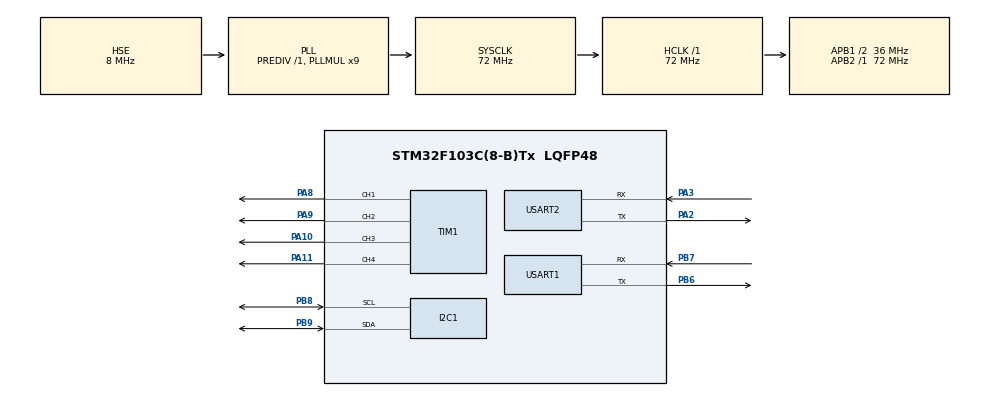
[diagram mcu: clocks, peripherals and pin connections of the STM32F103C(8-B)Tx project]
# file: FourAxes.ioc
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FREERTOS.Tasks01=defaultTask,0,128,StartDefaultTask,Default,NULL
Mcu.Family=STM32F1
Mcu.Name=STM32F103C(8-B)Tx
Mcu.Package=LQFP48
NVIC.PriorityGroup=NVIC_PRIORITYGROUP_4
NVIC.TIM4_IRQn=true\:0\:0\:false\:false\:true\:false
NVIC.TimeBase=TIM4_IRQn
NVIC.TimeBaseIP=TIM4
NVIC.USART2_IRQn=true\:0\:0\:false\:false\:true\:false
PA10.Signal=S_TIM1_CH3
PA11.Signal=S_TIM1_CH4
PA13.Signal=SYS_JTMS-SWDIO
PA14.Signal=SYS_JTCK-SWCLK
PA2.Mode=Asynchronous
PA2.Signal=USART2_TX
PA3.Mode=Asynchronous
PA3.Signal=USART2_RX
PA8.Signal=S_TIM1_CH1
PA9.Signal=S_TIM1_CH2
PB6.Mode=Asynchronous
PB6.Signal=USART1_TX
PB7.Mode=Asynchronous
PB7.Signal=USART1_RX
PB8.Mode=I2C
PB8.Signal=I2C1_SCL
PB9.Mode=I2C
PB9.Signal=I2C1_SDA
PD0-OSC_IN.Mode=HSE-External-Oscillator
PD0-OSC_IN.Signal=RCC_OSC_IN
PD1-OSC_OUT.Mode=HSE-External-Oscillator
PD1-OSC_OUT.Signal=RCC_OSC_OUT
ProjectManager.HeapSize=0x200
ProjectManager.StackSize=0x400
ProjectManager.TargetToolchain=SW4STM32
RCC.AHBFreq_Value=72000000
RCC.APB1CLKDivider=RCC_HCLK_DIV2
RCC.APB1Freq_Value=36000000
RCC.APB1TimFreq_Value=72000000
RCC.APB2Freq_Value=72000000
RCC.APB2TimFreq_Value=72000000
RCC.HCLKFreq_Value=72000000
RCC.PLLMUL=RCC_PLL_MUL9
RCC.PLLSourceVirtual=RCC_PLLSOURCE_HSE
RCC.SYSCLKFreq_VALUE=72000000
RCC.SYSCLKSource=RCC_SYSCLKSOURCE_PLLCLK
RCC.USBFreq_Value=72000000
SH.S_TIM1_CH1.0=TIM1_CH1,PWM Generation1 CH1
SH.S_TIM1_CH2.0=TIM1_CH2,PWM Generation2 CH2
SH.S_TIM1_CH3.0=TIM1_CH3,PWM Generation3 CH3
SH.S_TIM1_CH4.0=TIM1_CH4,PWM Generation4 CH4
TIM1.Channel-PWM\ Generation1\ CH1=TIM_CHANNEL_1
TIM1.Channel-PWM\ Generation2\ CH2=TIM_CHANNEL_2
TIM1.Channel-PWM\ Generation3\ CH3=TIM_CHANNEL_3
TIM1.Channel-PWM\ Generation4\ CH4=TIM_CHANNEL_4
USART1.VirtualMode=VM_ASYNC
USART2.VirtualMode=VM_ASYNC
VP_FREERTOS_VS_ENABLE.Mode=Enabled
VP_SYS_VS_ND.Mode=No_Debug
VP_SYS_VS_tim4.Mode=TIM4
board=FourAxes

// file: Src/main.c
/**
  ******************************************************************************
  * File Name          : main.c
  * Description        : Main program body
  ******************************************************************************
  * This notice applies to any and all portions of this file
  * that are not between comment pairs USER CODE BEGIN and
  * USER CODE END. Other portions of this file, whether
  * inserted by the user or by software development tools
  * are owned by their respective copyright owners.
  *
  * Copyright (c) 2017 STMicroelectronics International N.V.
  * All rights reserved.
  *
  * Redistribution and use in source and binary forms, with or without
  * modification, are permitted, provided that the following conditions are met:
  *
  * 1. Redistribution of source code must retain the above copyright notice,
  *    this list of conditions and the following disclaimer.
  * 2. Redistributions in binary form must reproduce the above copyright notice,
  *    this list of conditions and the following disclaimer in the documentation
  *    and/or other materials provided with the distribution.
  * 3. Neither the name of STMicroelectronics nor the names of other
  *    contributors to this software may be used to endorse or promote products
  *    derived from this software without specific written permission.
  * 4. This software, including modifications and/or derivative works of this
  *    software, must execute solely and exclusively on microcontroller or
  *    microprocessor devices manufactured by or for STMicroelectronics.
  * 5. Redistribution and use of this software other than as permitted under
  *    this license is void and will automatically terminate your rights under
  *    this license.
  *
  * THIS SOFTWARE IS PROVIDED BY STMICROELECTRONICS AND CONTRIBUTORS "AS IS"
  * AND ANY EXPRESS, IMPLIED OR STATUTORY WARRANTIES, INCLUDING, BUT NOT
  * LIMITED TO, THE IMPLIED WARRANTIES OF MERCHANTABILITY, FITNESS FOR A
  * PARTICULAR PURPOSE AND NON-INFRINGEMENT OF THIRD PARTY INTELLECTUAL PROPERTY
  * RIGHTS ARE DISCLAIMED TO THE FULLEST EXTENT PERMITTED BY LAW. IN NO EVENT
  * SHALL STMICROELECTRONICS OR CONTRIBUTORS BE LIABLE FOR ANY DIRECT, INDIRECT,
  * INCIDENTAL, SPECIAL, EXEMPLARY, OR CONSEQUENTIAL DAMAGES (INCLUDING, BUT NOT
  * LIMITED TO, PROCUREMENT OF SUBSTITUTE GOODS OR SERVICES; LOSS OF USE, DATA,
  * OR PROFITS; OR BUSINESS INTERRUPTION) HOWEVER CAUSED AND ON ANY THEORY OF
  * LIABILITY, WHETHER IN CONTRACT, STRICT LIABILITY, OR TORT (INCLUDING
  * NEGLIGENCE OR OTHERWISE) ARISING IN ANY WAY OUT OF THE USE OF THIS SOFTWARE,
  * EVEN IF ADVISED OF THE POSSIBILITY OF SUCH DAMAGE.
  *
  ******************************************************************************
  */
#include "main.h"
#include "stm32f1xx_hal.h"
#include "cmsis_os.h"

/* USER CODE BEGIN Includes */
#include "iic.h"
#include "gprs.h"

/* USER CODE END Includes */

I2C_HandleTypeDef hi2c1;

TIM_HandleTypeDef htim1;

UART_HandleTypeDef huart1;
UART_HandleTypeDef huart2;

osThreadId defaultTaskHandle;

/* USER CODE BEGIN PV */
/* Private variables ---------------------------------------------------------*/

/* USER CODE END PV */

void SystemClock_Config(void);
static void MX_GPIO_Init(void);
static void MX_TIM1_Init(void);
static void MX_USART1_UART_Init(void);
static void MX_I2C1_Init(void);
static void MX_USART2_UART_Init(void);
void StartDefaultTask(void const * argument);

void HAL_TIM_MspPostInit(TIM_HandleTypeDef *htim);

/* USER CODE BEGIN PFP */
/* Private function prototypes -----------------------------------------------*/

/* USER CODE END PFP */

/* USER CODE BEGIN 0 */
void Printf_Task(void);
extern void ReadAccelGyro(void);
extern void AT_Transmit(void);
/* USER CODE END 0 */

int main(void)
{

  /* MCU Configuration----------------------------------------------------------*/

  /* Reset of all peripherals, Initializes the Flash interface and the Systick. */
  HAL_Init();

  /* Configure the system clock */
  SystemClock_Config();

  /* Initialize all configured peripherals */
  MX_GPIO_Init();
  MX_TIM1_Init();
  MX_USART1_UART_Init();
  MX_I2C1_Init();
  MX_USART2_UART_Init();

  /* USER CODE BEGIN 2 */
  MPU9255Init();
  /* USER CODE END 2 */

  /* Create the thread(s) */
  /* definition and creation of defaultTask */
  osThreadDef(defaultTask, StartDefaultTask, osPriorityNormal, 0, 128);
  defaultTaskHandle = osThreadCreate(osThread(defaultTask), NULL);

  /* USER CODE BEGIN RTOS_THREADS */

//  xTaskCreate(ReadAccelGyro,"ReadAccelGyro",256,NULL,1,NULL);
  xTaskCreate(AT_Transmit,"AT_Transmit",256,NULL,1,NULL);
  /* add threads, ... */
  /* USER CODE END RTOS_THREADS */

  /* Start scheduler */
  osKernelStart();

  /* We should never get here as control is now taken by the scheduler */

  /* Infinite loop */
  while (1)
  {

  }

}

/** System Clock Configuration
*/
void SystemClock_Config(void)
{

  RCC_OscInitTypeDef RCC_OscInitStruct;
  RCC_ClkInitTypeDef RCC_ClkInitStruct;

    /**Initializes the CPU, AHB and APB busses clocks
    */
  RCC_OscInitStruct.OscillatorType = RCC_OSCILLATORTYPE_HSE;
  RCC_OscInitStruct.HSEState = RCC_HSE_ON;
  RCC_OscInitStruct.HSEPredivValue = RCC_HSE_PREDIV_DIV1;
  RCC_OscInitStruct.HSIState = RCC_HSI_ON;
  RCC_OscInitStruct.PLL.PLLState = RCC_PLL_ON;
  RCC_OscInitStruct.PLL.PLLSource = RCC_PLLSOURCE_HSE;
  RCC_OscInitStruct.PLL.PLLMUL = RCC_PLL_MUL9;
  if (HAL_RCC_OscConfig(&RCC_OscInitStruct) != HAL_OK)
  {
    _Error_Handler(__FILE__, __LINE__);
  }

    /**Initializes the CPU, AHB and APB busses clocks
    */
  RCC_ClkInitStruct.ClockType = RCC_CLOCKTYPE_HCLK|RCC_CLOCKTYPE_SYSCLK
                              |RCC_CLOCKTYPE_PCLK1|RCC_CLOCKTYPE_PCLK2;
  RCC_ClkInitStruct.SYSCLKSource = RCC_SYSCLKSOURCE_PLLCLK;
  RCC_ClkInitStruct.AHBCLKDivider = RCC_SYSCLK_DIV1;
  RCC_ClkInitStruct.APB1CLKDivider = RCC_HCLK_DIV2;
  RCC_ClkInitStruct.APB2CLKDivider = RCC_HCLK_DIV1;

  if (HAL_RCC_ClockConfig(&RCC_ClkInitStruct, FLASH_LATENCY_2) != HAL_OK)
  {
    _Error_Handler(__FILE__, __LINE__);
  }

    /**Configure the Systick interrupt time
    */
  HAL_SYSTICK_Config(HAL_RCC_GetHCLKFreq()/1000);

    /**Configure the Systick
    */
  HAL_SYSTICK_CLKSourceConfig(SYSTICK_CLKSOURCE_HCLK);

  /* SysTick_IRQn interrupt configuration */
  HAL_NVIC_SetPriority(SysTick_IRQn, 15, 0);
}

/* I2C1 init function */
static void MX_I2C1_Init(void)
{

  hi2c1.Instance = I2C1;
  hi2c1.Init.ClockSpeed = 100000;
  hi2c1.Init.DutyCycle = I2C_DUTYCYCLE_2;
  hi2c1.Init.OwnAddress1 = 0;
  hi2c1.Init.AddressingMode = I2C_ADDRESSINGMODE_7BIT;
  hi2c1.Init.DualAddressMode = I2C_DUALADDRESS_DISABLE;
  hi2c1.Init.OwnAddress2 = 0;
  hi2c1.Init.GeneralCallMode = I2C_GENERALCALL_DISABLE;
  hi2c1.Init.NoStretchMode = I2C_NOSTRETCH_DISABLE;
  if (HAL_I2C_Init(&hi2c1) != HAL_OK)
  {
    _Error_Handler(__FILE__, __LINE__);
  }

}

/* TIM1 init function */
static void MX_TIM1_Init(void)
{

  TIM_MasterConfigTypeDef sMasterConfig;
  TIM_OC_InitTypeDef sConfigOC;
  TIM_BreakDeadTimeConfigTypeDef sBreakDeadTimeConfig;

  htim1.Instance = TIM1;
  htim1.Init.Prescaler = 0;
  htim1.Init.CounterMode = TIM_COUNTERMODE_UP;
  htim1.Init.Period = 0;
  htim1.Init.ClockDivision = TIM_CLOCKDIVISION_DIV1;
  htim1.Init.RepetitionCounter = 0;
  if (HAL_TIM_PWM_Init(&htim1) != HAL_OK)
  {
    _Error_Handler(__FILE__, __LINE__);
  }

  sMasterConfig.MasterOutputTrigger = TIM_TRGO_RESET;
  sMasterConfig.MasterSlaveMode = TIM_MASTERSLAVEMODE_DISABLE;
  if (HAL_TIMEx_MasterConfigSynchronization(&htim1, &sMasterConfig) != HAL_OK)
  {
    _Error_Handler(__FILE__, __LINE__);
  }

  sConfigOC.OCMode = TIM_OCMODE_PWM1;
  sConfigOC.Pulse = 0;
  sConfigOC.OCPolarity = TIM_OCPOLARITY_HIGH;
  sConfigOC.OCNPolarity = TIM_OCNPOLARITY_HIGH;
  sConfigOC.OCFastMode = TIM_OCFAST_DISABLE;
  sConfigOC.OCIdleState = TIM_OCIDLESTATE_RESET;
  sConfigOC.OCNIdleState = TIM_OCNIDLESTATE_RESET;
  if (HAL_TIM_PWM_ConfigChannel(&htim1, &sConfigOC, TIM_CHANNEL_1) != HAL_OK)
  {
    _Error_Handler(__FILE__, __LINE__);
  }

  if (HAL_TIM_PWM_ConfigChannel(&htim1, &sConfigOC, TIM_CHANNEL_2) != HAL_OK)
  {
    _Error_Handler(__FILE__, __LINE__);
  }

  if (HAL_TIM_PWM_ConfigChannel(&htim1, &sConfigOC, TIM_CHANNEL_3) != HAL_OK)
  {
    _Error_Handler(__FILE__, __LINE__);
  }

  if (HAL_TIM_PWM_ConfigChannel(&htim1, &sConfigOC, TIM_CHANNEL_4) != HAL_OK)
  {
    _Error_Handler(__FILE__, __LINE__);
  }

  sBreakDeadTimeConfig.OffStateRunMode = TIM_OSSR_DISABLE;
  sBreakDeadTimeConfig.OffStateIDLEMode = TIM_OSSI_DISABLE;
  sBreakDeadTimeConfig.LockLevel = TIM_LOCKLEVEL_OFF;
  sBreakDeadTimeConfig.DeadTime = 0;
  sBreakDeadTimeConfig.BreakState = TIM_BREAK_DISABLE;
  sBreakDeadTimeConfig.BreakPolarity = TIM_BREAKPOLARITY_HIGH;
  sBreakDeadTimeConfig.AutomaticOutput = TIM_AUTOMATICOUTPUT_DISABLE;
  if (HAL_TIMEx_ConfigBreakDeadTime(&htim1, &sBreakDeadTimeConfig) != HAL_OK)
  {
    _Error_Handler(__FILE__, __LINE__);
  }

  HAL_TIM_MspPostInit(&htim1);

}

/* USART1 init function */
static void MX_USART1_UART_Init(void)
{

  huart1.Instance = USART1;
  huart1.Init.BaudRate = 115200;
  huart1.Init.WordLength = UART_WORDLENGTH_8B;
  huart1.Init.StopBits = UART_STOPBITS_1;
  huart1.Init.Parity = UART_PARITY_NONE;
  huart1.Init.Mode = UART_MODE_TX_RX;
  huart1.Init.HwFlowCtl = UART_HWCONTROL_NONE;
  huart1.Init.OverSampling = UART_OVERSAMPLING_16;
  if (HAL_UART_Init(&huart1) != HAL_OK)
  {
    _Error_Handler(__FILE__, __LINE__);
  }

}

/* USART2 init function */
static void MX_USART2_UART_Init(void)
{

  huart2.Instance = USART2;
  huart2.Init.BaudRate = 115200;
  huart2.Init.WordLength = UART_WORDLENGTH_8B;
  huart2.Init.StopBits = UART_STOPBITS_1;
  huart2.Init.Parity = UART_PARITY_NONE;
  huart2.Init.Mode = UART_MODE_TX_RX;
  huart2.Init.HwFlowCtl = UART_HWCONTROL_NONE;
  huart2.Init.OverSampling = UART_OVERSAMPLING_16;
  if (HAL_UART_Init(&huart2) != HAL_OK)
  {
    _Error_Handler(__FILE__, __LINE__);
  }

}

/** Configure pins as
        * Analog
        * Input
        * Output
        * EVENT_OUT
        * EXTI
*/
static void MX_GPIO_Init(void)
{

  /* GPIO Ports Clock Enable */
  __HAL_RCC_GPIOD_CLK_ENABLE();
  __HAL_RCC_GPIOA_CLK_ENABLE();
  __HAL_RCC_GPIOB_CLK_ENABLE();

}

/* USER CODE BEGIN 4 */
int _write(int file, char* ptr, int len)
{
    int DataIdx;

    for (DataIdx = 0; DataIdx < len; DataIdx++) {
        HAL_UART_Transmit(&huart1, (uint8_t*)ptr++, 1, 50);
    }

    return len;
}

void Printf_Task(void)
{
	while(1)
	{
		printf("hello\r\n");
		osDelay(1000);

	}

}
/* USER CODE END 4 */

/* StartDefaultTask function */
void StartDefaultTask(void const * argument)
{

  for(;;)
  {
    osDelay(1);
  }
}

void HAL_TIM_PeriodElapsedCallback(TIM_HandleTypeDef *htim)
{
  if (htim->Instance == TIM4) {
    HAL_IncTick();
  }
}

void _Error_Handler(char * file, int line)
{
  while(1)
  {
  }
}

/************************ (C) COPYRIGHT STMicroelectronics *****END OF FILE****/
